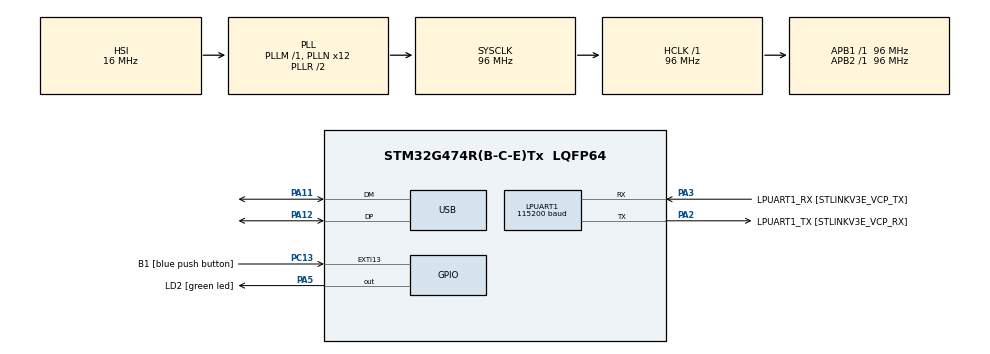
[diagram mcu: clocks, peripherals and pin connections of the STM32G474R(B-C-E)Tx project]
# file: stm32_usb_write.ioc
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LPUART1.BaudRate=115200
LPUART1.WordLength=UART_WORDLENGTH_8B
Mcu.Family=STM32G4
Mcu.Name=STM32G474R(B-C-E)Tx
Mcu.Package=LQFP64
NVIC.EXTI15_10_IRQn=true\:0\:0\:false\:false\:true\:true\:true\:true
NVIC.PriorityGroup=NVIC_PRIORITYGROUP_4
NVIC.USB_LP_IRQn=true\:0\:0\:false\:false\:true\:false\:true\:true
PA11.Mode=Device
PA11.Signal=USB_DM
PA12.Mode=Device
PA12.Signal=USB_DP
PA13.GPIO_Label=T_SWDIO
PA13.Mode=Serial_Wire
PA13.Signal=SYS_JTMS-SWDIO
PA14.GPIO_Label=T_SWCLK
PA14.Mode=Serial_Wire
PA14.Signal=SYS_JTCK-SWCLK
PA2.GPIO_Label=LPUART1_TX [STLINKV3E_VCP_RX]
PA2.Mode=Asynchronous
PA2.Signal=LPUART1_TX
PA3.GPIO_Label=LPUART1_RX [STLINKV3E_VCP_TX]
PA3.Mode=Asynchronous
PA3.Signal=LPUART1_RX
PA5.GPIO_Label=LD2 [green led]
PA5.Signal=GPIO_Output
PB3.GPIO_Label=T_SWO
PB3.Signal=SYS_JTDO-SWO
PC13.GPIO_Label=B1 [blue push button]
PC13.Signal=GPXTI13
PC14-OSC32_IN.Mode=LSE-External-Oscillator
PC14-OSC32_IN.Signal=RCC_OSC32_IN
PC15-OSC32_OUT.Mode=LSE-External-Oscillator
PC15-OSC32_OUT.Signal=RCC_OSC32_OUT
PF0-OSC_IN.Mode=HSE-External-Oscillator
PF0-OSC_IN.Signal=RCC_OSC_IN
PF1-OSC_OUT.Mode=HSE-External-Oscillator
PF1-OSC_OUT.Signal=RCC_OSC_OUT
ProjectManager.HeapSize=0x200
ProjectManager.StackSize=0x400
ProjectManager.TargetToolchain=STM32CubeIDE
RCC.ADC12Freq_Value=96000000
RCC.ADC345Freq_Value=96000000
RCC.AHBFreq_Value=96000000
RCC.APB1Freq_Value=96000000
RCC.APB1TimFreq_Value=96000000
RCC.APB2Freq_Value=96000000
RCC.APB2TimFreq_Value=96000000
RCC.CortexFreq_Value=96000000
RCC.EXTERNAL_CLOCK_VALUE=12288000
RCC.HCLKFreq_Value=96000000
RCC.HSE_VALUE=24000000
RCC.HSI48_VALUE=48000000
RCC.HSI_VALUE=16000000
RCC.PLLN=12
RCC.PLLQ=RCC_PLLQ_DIV4
RCC.RTCClockSelection=RCC_RTCCLKSOURCE_LSE
RCC.SYSCLKFreq_VALUE=96000000
RCC.SYSCLKSource=RCC_SYSCLKSOURCE_PLLCLK
RCC.USBFreq_Value=48000000
RCC.VCOOutputFreq_Value=192000000
USB_DEVICE.CLASS_NAME_FS=MSC
USB_DEVICE.VirtualMode=Msc
USB_DEVICE.VirtualModeFS=Msc_FS
VP_SYS_VS_DBSignals.Mode=DisableDeadBatterySignals
VP_USB_DEVICE_VS_USB_DEVICE_MSC_FS.Mode=MSC_FS
board=NUCLEO-G474RE

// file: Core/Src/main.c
/* USER CODE BEGIN Header */
/**
  ******************************************************************************
  * @file           : main.c
  * @brief          : Main program body
  ******************************************************************************
  * @attention
  *
  * Copyright (c) 2024 STMicroelectronics.
  * All rights reserved.
  *
  * This software is licensed under terms that can be found in the LICENSE file
  * in the root directory of this software component.
  * If no LICENSE file comes with this software, it is provided AS-IS.
  *
  ******************************************************************************
  */
/* USER CODE END Header */
#include "main.h"
#include "usb_device.h"

/* USER CODE BEGIN Includes */
#include "usbd_msc.h"
/* USER CODE END Includes */

UART_HandleTypeDef hlpuart1;

/* USER CODE BEGIN PV */

volatile char startCommunication = 0; //Initiates a start of transfer
volatile int  txCnt = 0; // Number of transmitted kB (1024 bytes)
volatile char flagBulkInTx = 0; // Flag for indicating end of transfer
uint8_t usbData[1024];
extern USBD_HandleTypeDef hUsbDeviceFS;

/* USER CODE END PV */

void SystemClock_Config(void);
static void MX_GPIO_Init(void);
static void MX_LPUART1_UART_Init(void);

int main(void)
{

  /* MCU Configuration--------------------------------------------------------*/

  /* Reset of all peripherals, Initializes the Flash interface and the Systick. */
  HAL_Init();

  /* Configure the system clock */
  SystemClock_Config();

  /* Initialize all configured peripherals */
  MX_GPIO_Init();
  MX_LPUART1_UART_Init();
  MX_USB_Device_Init();

  /* Infinite loop */
  /* USER CODE BEGIN WHILE */
  while (1)
  {
	  if(startCommunication){
		  uint32_t sample = 0;
		  startCommunication = 0;

		  while(txCnt){
			  txCnt--;

			  for(int i = 0; i < sizeof(usbData); i = i + 4)
			  {
				  //Parsing 32bit "sample" into 8bit chunks
				  usbData[i] = sample >> 24 & 0xFF;
				  usbData[i+1] = sample >> 16 & 0xFF;
				  usbData[i+2] = sample >> 8 & 0xFF;
				  usbData[i+3] = sample & 0xFF;
				  sample++;
			  }

			  flagBulkInTx = 0;
			  USBD_LL_Transmit(&hUsbDeviceFS, MSC_EPIN_ADDR, usbData, 1024);
			  while (!flagBulkInTx);
		  }
	  }
    /* USER CODE END WHILE */

  }
}

void SystemClock_Config(void)
{
  RCC_OscInitTypeDef RCC_OscInitStruct = {0};
  RCC_ClkInitTypeDef RCC_ClkInitStruct = {0};

  /** Configure the main internal regulator output voltage
  */
  HAL_PWREx_ControlVoltageScaling(PWR_REGULATOR_VOLTAGE_SCALE1);

  /** Initializes the RCC Oscillators according to the specified parameters
  * in the RCC_OscInitTypeDef structure.
  */
  RCC_OscInitStruct.OscillatorType = RCC_OSCILLATORTYPE_HSI;
  RCC_OscInitStruct.HSIState = RCC_HSI_ON;
  RCC_OscInitStruct.HSICalibrationValue = RCC_HSICALIBRATION_DEFAULT;
  RCC_OscInitStruct.PLL.PLLState = RCC_PLL_ON;
  RCC_OscInitStruct.PLL.PLLSource = RCC_PLLSOURCE_HSI;
  RCC_OscInitStruct.PLL.PLLM = RCC_PLLM_DIV1;
  RCC_OscInitStruct.PLL.PLLN = 12;
  RCC_OscInitStruct.PLL.PLLP = RCC_PLLP_DIV2;
  RCC_OscInitStruct.PLL.PLLQ = RCC_PLLQ_DIV4;
  RCC_OscInitStruct.PLL.PLLR = RCC_PLLR_DIV2;
  if (HAL_RCC_OscConfig(&RCC_OscInitStruct) != HAL_OK)
  {
    Error_Handler();
  }

  /** Initializes the CPU, AHB and APB buses clocks
  */
  RCC_ClkInitStruct.ClockType = RCC_CLOCKTYPE_HCLK|RCC_CLOCKTYPE_SYSCLK
                              |RCC_CLOCKTYPE_PCLK1|RCC_CLOCKTYPE_PCLK2;
  RCC_ClkInitStruct.SYSCLKSource = RCC_SYSCLKSOURCE_PLLCLK;
  RCC_ClkInitStruct.AHBCLKDivider = RCC_SYSCLK_DIV1;
  RCC_ClkInitStruct.APB1CLKDivider = RCC_HCLK_DIV1;
  RCC_ClkInitStruct.APB2CLKDivider = RCC_HCLK_DIV1;

  if (HAL_RCC_ClockConfig(&RCC_ClkInitStruct, FLASH_LATENCY_3) != HAL_OK)
  {
    Error_Handler();
  }
}

static void MX_LPUART1_UART_Init(void)
{

  hlpuart1.Instance = LPUART1;
  hlpuart1.Init.BaudRate = 115200;
  hlpuart1.Init.WordLength = UART_WORDLENGTH_8B;
  hlpuart1.Init.StopBits = UART_STOPBITS_1;
  hlpuart1.Init.Parity = UART_PARITY_NONE;
  hlpuart1.Init.Mode = UART_MODE_TX_RX;
  hlpuart1.Init.HwFlowCtl = UART_HWCONTROL_NONE;
  hlpuart1.Init.OneBitSampling = UART_ONE_BIT_SAMPLE_DISABLE;
  hlpuart1.Init.ClockPrescaler = UART_PRESCALER_DIV1;
  hlpuart1.AdvancedInit.AdvFeatureInit = UART_ADVFEATURE_NO_INIT;
  if (HAL_UART_Init(&hlpuart1) != HAL_OK)
  {
    Error_Handler();
  }
  if (HAL_UARTEx_SetTxFifoThreshold(&hlpuart1, UART_TXFIFO_THRESHOLD_1_8) != HAL_OK)
  {
    Error_Handler();
  }
  if (HAL_UARTEx_SetRxFifoThreshold(&hlpuart1, UART_RXFIFO_THRESHOLD_1_8) != HAL_OK)
  {
    Error_Handler();
  }
  if (HAL_UARTEx_DisableFifoMode(&hlpuart1) != HAL_OK)
  {
    Error_Handler();
  }

}

static void MX_GPIO_Init(void)
{
  GPIO_InitTypeDef GPIO_InitStruct = {0};

  /* GPIO Ports Clock Enable */
  __HAL_RCC_GPIOC_CLK_ENABLE();
  __HAL_RCC_GPIOF_CLK_ENABLE();
  __HAL_RCC_GPIOA_CLK_ENABLE();
  __HAL_RCC_GPIOB_CLK_ENABLE();

  /*Configure GPIO pin Output Level */
  HAL_GPIO_WritePin(LD2_GPIO_Port, LD2_Pin, GPIO_PIN_RESET);

  /*Configure GPIO pin : B1_Pin */
  GPIO_InitStruct.Pin = B1_Pin;
  GPIO_InitStruct.Mode = GPIO_MODE_IT_RISING;
  GPIO_InitStruct.Pull = GPIO_NOPULL;
  HAL_GPIO_Init(B1_GPIO_Port, &GPIO_InitStruct);

  /*Configure GPIO pin : LD2_Pin */
  GPIO_InitStruct.Pin = LD2_Pin;
  GPIO_InitStruct.Mode = GPIO_MODE_OUTPUT_PP;
  GPIO_InitStruct.Pull = GPIO_NOPULL;
  GPIO_InitStruct.Speed = GPIO_SPEED_FREQ_LOW;
  HAL_GPIO_Init(LD2_GPIO_Port, &GPIO_InitStruct);

  /* EXTI interrupt init*/
  HAL_NVIC_SetPriority(EXTI15_10_IRQn, 0, 0);
  HAL_NVIC_EnableIRQ(EXTI15_10_IRQn);

}

void Error_Handler(void)
{
  __disable_irq();
  while (1)
  {
  }
}
